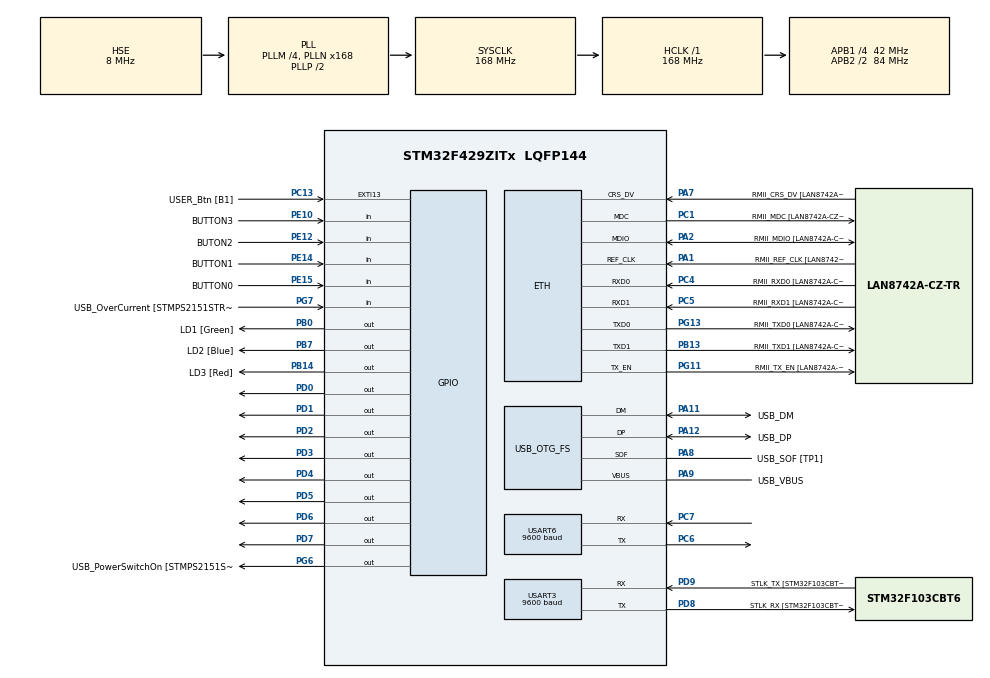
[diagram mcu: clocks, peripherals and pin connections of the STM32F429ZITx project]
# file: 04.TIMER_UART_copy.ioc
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ETH.MediaInterface=HAL_ETH_RMII_MODE
ETH.PHY_Name=LAN8742A_PHY_ADDRESS
ETH.PHY_Value=0
ETH.PhyAddress=0
Mcu.Family=STM32F4
Mcu.Name=STM32F429ZITx
Mcu.Package=LQFP144
NVIC.PriorityGroup=NVIC_PRIORITYGROUP_4
NVIC.USART3_IRQn=true\:0\:0\:false\:false\:true\:true\:true\:true
NVIC.USART6_IRQn=true\:0\:0\:false\:false\:true\:true\:true\:true
PA1.GPIO_Label=RMII_REF_CLK [LAN8742A-CZ-TR_REFCLK0]
PA1.Mode=RMII
PA1.Signal=ETH_REF_CLK
PA10.GPIO_Label=USB_ID
PA10.Signal=USB_OTG_FS_ID
PA11.GPIO_Label=USB_DM
PA11.Mode=Device_Only
PA11.Signal=USB_OTG_FS_DM
PA12.GPIO_Label=USB_DP
PA12.Mode=Device_Only
PA12.Signal=USB_OTG_FS_DP
PA13.GPIO_Label=TMS
PA13.Mode=Serial_Wire
PA13.Signal=SYS_JTMS-SWDIO
PA14.GPIO_Label=TCK
PA14.Mode=Serial_Wire
PA14.Signal=SYS_JTCK-SWCLK
PA2.GPIO_Label=RMII_MDIO [LAN8742A-CZ-TR_MDIO]
PA2.Mode=RMII
PA2.Signal=ETH_MDIO
PA7.GPIO_Label=RMII_CRS_DV [LAN8742A-CZ-TR_CRS_DV]
PA7.Mode=RMII
PA7.Signal=ETH_CRS_DV
PA8.GPIO_Label=USB_SOF [TP1]
PA8.Mode=Activate_SOF_FS
PA8.Signal=USB_OTG_FS_SOF
PA9.GPIO_Label=USB_VBUS
PA9.Mode=Activate_VBUS
PA9.Signal=USB_OTG_FS_VBUS
PB0.GPIO_Label=LD1 [Green]
PB0.Signal=GPIO_Output
PB13.GPIO_Label=RMII_TXD1 [LAN8742A-CZ-TR_TXD1]
PB13.Mode=RMII
PB13.Signal=ETH_TXD1
PB14.GPIO_Label=LD3 [Red]
PB14.Signal=GPIO_Output
PB7.GPIO_Label=LD2 [Blue]
PB7.Signal=GPIO_Output
PC1.GPIO_Label=RMII_MDC [LAN8742A-CZ-TR_MDC]
PC1.Mode=RMII
PC1.Signal=ETH_MDC
PC13.GPIO_Label=USER_Btn [B1]
PC13.Signal=GPXTI13
PC14/OSC32_IN.Mode=LSE-External-Oscillator
PC14/OSC32_IN.Signal=RCC_OSC32_IN
PC15/OSC32_OUT.Mode=LSE-External-Oscillator
PC15/OSC32_OUT.Signal=RCC_OSC32_OUT
PC4.GPIO_Label=RMII_RXD0 [LAN8742A-CZ-TR_RXD0]
PC4.Mode=RMII
PC4.Signal=ETH_RXD0
PC5.GPIO_Label=RMII_RXD1 [LAN8742A-CZ-TR_RXD1]
PC5.Mode=RMII
PC5.Signal=ETH_RXD1
PC6.Mode=Asynchronous
PC6.Signal=USART6_TX
PC7.Mode=Asynchronous
PC7.Signal=USART6_RX
PD0.Signal=GPIO_Output
PD1.Signal=GPIO_Output
PD2.Signal=GPIO_Output
PD3.Signal=GPIO_Output
PD4.Signal=GPIO_Output
PD5.Signal=GPIO_Output
PD6.Signal=GPIO_Output
PD7.Signal=GPIO_Output
PD8.GPIO_Label=STLK_RX [STM32F103CBT6_PA3]
PD8.Mode=Asynchronous
PD8.Signal=USART3_TX
PD9.GPIO_Label=STLK_TX [STM32F103CBT6_PA2]
PD9.Mode=Asynchronous
PD9.Signal=USART3_RX
PE10.GPIO_Label=BUTTON3
PE10.Signal=GPIO_Input
PE12.GPIO_Label=BUTON2
PE12.Signal=GPIO_Input
PE14.GPIO_Label=BUTTON1
PE14.Signal=GPIO_Input
PE15.GPIO_Label=BUTTON0
PE15.Signal=GPIO_Input
PG11.GPIO_Label=RMII_TX_EN [LAN8742A-CZ-TR_TXEN]
PG11.Mode=RMII
PG11.Signal=ETH_TX_EN
PG13.GPIO_Label=RMII_TXD0 [LAN8742A-CZ-TR_TXD0]
PG13.Mode=RMII
PG13.Signal=ETH_TXD0
PG6.GPIO_Label=USB_PowerSwitchOn [STMPS2151STR_EN]
PG6.Signal=GPIO_Output
PG7.GPIO_Label=USB_OverCurrent [STMPS2151STR_FAULT]
PG7.Signal=GPIO_Input
PH0/OSC_IN.GPIO_Label=MCO [STM32F103CBT6_PA8]
PH0/OSC_IN.Mode=HSE-External-Clock-Source
PH0/OSC_IN.Signal=RCC_OSC_IN
PH1/OSC_OUT.Mode=HSE-External-Clock-Source
PH1/OSC_OUT.Signal=RCC_OSC_OUT
ProjectManager.HeapSize=0x200
ProjectManager.StackSize=0x400
ProjectManager.TargetToolchain=STM32CubeIDE
RCC.48MHZClocksFreq_Value=48000000
RCC.AHBFreq_Value=168000000
RCC.APB1CLKDivider=RCC_HCLK_DIV4
RCC.APB1Freq_Value=42000000
RCC.APB1TimFreq_Value=84000000
RCC.APB2CLKDivider=RCC_HCLK_DIV2
RCC.APB2Freq_Value=84000000
RCC.APB2TimCLKDivider=2
RCC.APB2TimFreq_Value=168000000
RCC.CortexFreq_Value=168000000
RCC.HCLKFreq_Value=168000000
RCC.HSE_VALUE=8000000
RCC.HSI_VALUE=16000000
RCC.PLLM=4
RCC.PLLMUL=RCC_PLL_MUL9
RCC.PLLN=168
RCC.PLLQ=7
RCC.PRESCALERUSB=RCC_USBCLKSOURCE_PLL_DIV1_5
RCC.SYSCLKFreq_VALUE=168000000
RCC.SYSCLKSource=RCC_SYSCLKSOURCE_PLLCLK
RCC.SYSCLKSourceVirtual=RCC_SYSCLKSOURCE_PLLCLK
RCC.USBFreq_Value=48000000
RCC.VCOOutputFreq_Value=336000000
USART3.BaudRate=9600
USART3.VirtualMode=VM_ASYNC
USART6.BaudRate=9600
USART6.VirtualMode=VM_ASYNC
USB_OTG_FS.VirtualMode=Device_Only
board=NUCLEO-F429ZI

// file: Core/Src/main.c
/* USER CODE BEGIN Header */
/**
  ******************************************************************************
  * @file           : main.c
  * @brief          : Main program body
  ******************************************************************************
  * @attention
  *
  * Copyright (c) 2023 STMicroelectronics.
  * All rights reserved.
  *
  * This software is licensed under terms that can be found in the LICENSE file
  * in the root directory of this software component.
  * If no LICENSE file comes with this software, it is provided AS-IS.
  *
  ******************************************************************************
  */
/* USER CODE END Header */
#include "main.h"
#include "string.h"

ETH_TxPacketConfig TxConfig;
ETH_DMADescTypeDef  DMARxDscrTab[ETH_RX_DESC_CNT]; /* Ethernet Rx DMA Descriptors */
ETH_DMADescTypeDef  DMATxDscrTab[ETH_TX_DESC_CNT]; /* Ethernet Tx DMA Descriptors */

ETH_HandleTypeDef heth;

UART_HandleTypeDef huart3;
UART_HandleTypeDef huart6;

PCD_HandleTypeDef hpcd_USB_OTG_FS;

/* USER CODE BEGIN PV */
uint8_t rx_data;	// uart3 rx_data
uint8_t bt_rx_data;	// uart6 rx_data
/* USER CODE END PV */

void SystemClock_Config(void);
static void MX_GPIO_Init(void);
static void MX_ETH_Init(void);
static void MX_USART3_UART_Init(void);
static void MX_USB_OTG_FS_PCD_Init(void);
static void MX_USART6_UART_Init(void);
/* USER CODE BEGIN PFP */
extern void led_main(void);
extern void pc_command_processing(void);
extern void bt_command_processing(void);
/* USER CODE END PFP */

/* USER CODE BEGIN 0 */
//---------------------
// call by SysTic_Handler of stm32f4xx_it.c
// ARM default timer
// enter here every 1ms
volatile int t1ms_counter=0;	//volatile: for disable optimize
void HAL_STSTICK_Handler(void)	//
{
	t1ms_counter++;	// 1ms timer
}

//----------  printf start ----------
#ifdef __GNUC__
/* With GCC, small printf (option LD Linker->Libraries->Small printf
   set to 'Yes') calls __io_putchar() */
#define PUTCHAR_PROTOTYPE int __io_putchar(int ch)
#else
#define PUTCHAR_PROTOTYPE int fputc(int ch, FILE *f)
#endif /* __GNUC_ */
/**
  * @brief  Retargets the C library printf function to the USART.
  * @param  None
  * @retval None
  */
PUTCHAR_PROTOTYPE   // Add for printf
{
  /* Place your implementation of fputc here */
  /* e.g. write a character to the USART3 and Loop until the end of transmission */
  HAL_UART_Transmit(&huart3, (uint8_t *)&ch, 1, 0xFFFF);

  return ch;
}
//----------  printf end ----------

/* USER CODE END 0 */

int main(void)
{

  /* MCU Configuration--------------------------------------------------------*/

  /* Reset of all peripherals, Initializes the Flash interface and the Systick. */
  HAL_Init();

  /* Configure the system clock */
  SystemClock_Config();

  /* Initialize all configured peripherals */
  MX_GPIO_Init();
  MX_ETH_Init();
  MX_USART3_UART_Init();
  MX_USB_OTG_FS_PCD_Init();
  MX_USART6_UART_Init();
  /* USER CODE BEGIN 2 */
  HAL_UART_Receive_IT(&huart3, &rx_data, 1);		//assing to RX INT
  HAL_UART_Receive_IT(&huart6, &bt_rx_data, 1);		//assing to BT RX INT

  printf("led_main() start!!!\n");
//  led_main();

  /* USER CODE END 2 */

  /* Infinite loop */
  /* USER CODE BEGIN WHILE */
  while (1)
  {
	  printf("8821\n");
	  HAL_Delay(100);
//	pc_command_processing();
//	bt_command_processing();

    /* USER CODE END WHILE */

  }
}

void SystemClock_Config(void)
{
  RCC_OscInitTypeDef RCC_OscInitStruct = {0};
  RCC_ClkInitTypeDef RCC_ClkInitStruct = {0};

  /** Configure the main internal regulator output voltage
  */
  __HAL_RCC_PWR_CLK_ENABLE();
  __HAL_PWR_VOLTAGESCALING_CONFIG(PWR_REGULATOR_VOLTAGE_SCALE1);

  /** Initializes the RCC Oscillators according to the specified parameters
  * in the RCC_OscInitTypeDef structure.
  */
  RCC_OscInitStruct.OscillatorType = RCC_OSCILLATORTYPE_HSE;
  RCC_OscInitStruct.HSEState = RCC_HSE_BYPASS;
  RCC_OscInitStruct.PLL.PLLState = RCC_PLL_ON;
  RCC_OscInitStruct.PLL.PLLSource = RCC_PLLSOURCE_HSE;
  RCC_OscInitStruct.PLL.PLLM = 4;
  RCC_OscInitStruct.PLL.PLLN = 168;
  RCC_OscInitStruct.PLL.PLLP = RCC_PLLP_DIV2;
  RCC_OscInitStruct.PLL.PLLQ = 7;
  if (HAL_RCC_OscConfig(&RCC_OscInitStruct) != HAL_OK)
  {
    Error_Handler();
  }

  /** Initializes the CPU, AHB and APB buses clocks
  */
  RCC_ClkInitStruct.ClockType = RCC_CLOCKTYPE_HCLK|RCC_CLOCKTYPE_SYSCLK
                              |RCC_CLOCKTYPE_PCLK1|RCC_CLOCKTYPE_PCLK2;
  RCC_ClkInitStruct.SYSCLKSource = RCC_SYSCLKSOURCE_PLLCLK;
  RCC_ClkInitStruct.AHBCLKDivider = RCC_SYSCLK_DIV1;
  RCC_ClkInitStruct.APB1CLKDivider = RCC_HCLK_DIV4;
  RCC_ClkInitStruct.APB2CLKDivider = RCC_HCLK_DIV2;

  if (HAL_RCC_ClockConfig(&RCC_ClkInitStruct, FLASH_LATENCY_5) != HAL_OK)
  {
    Error_Handler();
  }
}

static void MX_ETH_Init(void)
{

   static uint8_t MACAddr[6];

  heth.Instance = ETH;
  MACAddr[0] = 0x00;
  MACAddr[1] = 0x80;
  MACAddr[2] = 0xE1;
  MACAddr[3] = 0x00;
  MACAddr[4] = 0x00;
  MACAddr[5] = 0x00;
  heth.Init.MACAddr = &MACAddr[0];
  heth.Init.MediaInterface = HAL_ETH_RMII_MODE;
  heth.Init.TxDesc = DMATxDscrTab;
  heth.Init.RxDesc = DMARxDscrTab;
  heth.Init.RxBuffLen = 1524;

  if (HAL_ETH_Init(&heth) != HAL_OK)
  {
    Error_Handler();
  }

  memset(&TxConfig, 0 , sizeof(ETH_TxPacketConfig));
  TxConfig.Attributes = ETH_TX_PACKETS_FEATURES_CSUM | ETH_TX_PACKETS_FEATURES_CRCPAD;
  TxConfig.ChecksumCtrl = ETH_CHECKSUM_IPHDR_PAYLOAD_INSERT_PHDR_CALC;
  TxConfig.CRCPadCtrl = ETH_CRC_PAD_INSERT;

}

static void MX_USART3_UART_Init(void)
{

  huart3.Instance = USART3;
  huart3.Init.BaudRate = 9600;
  huart3.Init.WordLength = UART_WORDLENGTH_8B;
  huart3.Init.StopBits = UART_STOPBITS_1;
  huart3.Init.Parity = UART_PARITY_NONE;
  huart3.Init.Mode = UART_MODE_TX_RX;
  huart3.Init.HwFlowCtl = UART_HWCONTROL_NONE;
  huart3.Init.OverSampling = UART_OVERSAMPLING_16;
  if (HAL_UART_Init(&huart3) != HAL_OK)
  {
    Error_Handler();
  }

}

static void MX_USART6_UART_Init(void)
{

  huart6.Instance = USART6;
  huart6.Init.BaudRate = 9600;
  huart6.Init.WordLength = UART_WORDLENGTH_8B;
  huart6.Init.StopBits = UART_STOPBITS_1;
  huart6.Init.Parity = UART_PARITY_NONE;
  huart6.Init.Mode = UART_MODE_TX_RX;
  huart6.Init.HwFlowCtl = UART_HWCONTROL_NONE;
  huart6.Init.OverSampling = UART_OVERSAMPLING_16;
  if (HAL_UART_Init(&huart6) != HAL_OK)
  {
    Error_Handler();
  }

}

static void MX_USB_OTG_FS_PCD_Init(void)
{

  hpcd_USB_OTG_FS.Instance = USB_OTG_FS;
  hpcd_USB_OTG_FS.Init.dev_endpoints = 4;
  hpcd_USB_OTG_FS.Init.speed = PCD_SPEED_FULL;
  hpcd_USB_OTG_FS.Init.dma_enable = DISABLE;
  hpcd_USB_OTG_FS.Init.phy_itface = PCD_PHY_EMBEDDED;
  hpcd_USB_OTG_FS.Init.Sof_enable = ENABLE;
  hpcd_USB_OTG_FS.Init.low_power_enable = DISABLE;
  hpcd_USB_OTG_FS.Init.lpm_enable = DISABLE;
  hpcd_USB_OTG_FS.Init.vbus_sensing_enable = ENABLE;
  hpcd_USB_OTG_FS.Init.use_dedicated_ep1 = DISABLE;
  if (HAL_PCD_Init(&hpcd_USB_OTG_FS) != HAL_OK)
  {
    Error_Handler();
  }

}

static void MX_GPIO_Init(void)
{
  GPIO_InitTypeDef GPIO_InitStruct = {0};

  /* GPIO Ports Clock Enable */
  __HAL_RCC_GPIOC_CLK_ENABLE();
  __HAL_RCC_GPIOH_CLK_ENABLE();
  __HAL_RCC_GPIOA_CLK_ENABLE();
  __HAL_RCC_GPIOB_CLK_ENABLE();
  __HAL_RCC_GPIOE_CLK_ENABLE();
  __HAL_RCC_GPIOD_CLK_ENABLE();
  __HAL_RCC_GPIOG_CLK_ENABLE();

  /*Configure GPIO pin Output Level */
  HAL_GPIO_WritePin(GPIOB, LD1_Pin|LD3_Pin|LD2_Pin, GPIO_PIN_RESET);

  /*Configure GPIO pin Output Level */
  HAL_GPIO_WritePin(USB_PowerSwitchOn_GPIO_Port, USB_PowerSwitchOn_Pin, GPIO_PIN_RESET);

  /*Configure GPIO pin Output Level */
  HAL_GPIO_WritePin(GPIOD, GPIO_PIN_0|GPIO_PIN_1|GPIO_PIN_2|GPIO_PIN_3
                          |GPIO_PIN_4|GPIO_PIN_5|GPIO_PIN_6|GPIO_PIN_7, GPIO_PIN_RESET);

  /*Configure GPIO pin : USER_Btn_Pin */
  GPIO_InitStruct.Pin = USER_Btn_Pin;
  GPIO_InitStruct.Mode = GPIO_MODE_IT_RISING;
  GPIO_InitStruct.Pull = GPIO_NOPULL;
  HAL_GPIO_Init(USER_Btn_GPIO_Port, &GPIO_InitStruct);

  /*Configure GPIO pins : LD1_Pin LD3_Pin LD2_Pin */
  GPIO_InitStruct.Pin = LD1_Pin|LD3_Pin|LD2_Pin;
  GPIO_InitStruct.Mode = GPIO_MODE_OUTPUT_PP;
  GPIO_InitStruct.Pull = GPIO_NOPULL;
  GPIO_InitStruct.Speed = GPIO_SPEED_FREQ_LOW;
  HAL_GPIO_Init(GPIOB, &GPIO_InitStruct);

  /*Configure GPIO pins : BUTTON3_Pin BUTON2_Pin BUTTON1_Pin BUTTON0_Pin */
  GPIO_InitStruct.Pin = BUTTON3_Pin|BUTON2_Pin|BUTTON1_Pin|BUTTON0_Pin;
  GPIO_InitStruct.Mode = GPIO_MODE_INPUT;
  GPIO_InitStruct.Pull = GPIO_NOPULL;
  HAL_GPIO_Init(GPIOE, &GPIO_InitStruct);

  /*Configure GPIO pin : USB_PowerSwitchOn_Pin */
  GPIO_InitStruct.Pin = USB_PowerSwitchOn_Pin;
  GPIO_InitStruct.Mode = GPIO_MODE_OUTPUT_PP;
  GPIO_InitStruct.Pull = GPIO_NOPULL;
  GPIO_InitStruct.Speed = GPIO_SPEED_FREQ_LOW;
  HAL_GPIO_Init(USB_PowerSwitchOn_GPIO_Port, &GPIO_InitStruct);

  /*Configure GPIO pin : USB_OverCurrent_Pin */
  GPIO_InitStruct.Pin = USB_OverCurrent_Pin;
  GPIO_InitStruct.Mode = GPIO_MODE_INPUT;
  GPIO_InitStruct.Pull = GPIO_NOPULL;
  HAL_GPIO_Init(USB_OverCurrent_GPIO_Port, &GPIO_InitStruct);

  /*Configure GPIO pins : PD0 PD1 PD2 PD3
                           PD4 PD5 PD6 PD7 */
  GPIO_InitStruct.Pin = GPIO_PIN_0|GPIO_PIN_1|GPIO_PIN_2|GPIO_PIN_3
                          |GPIO_PIN_4|GPIO_PIN_5|GPIO_PIN_6|GPIO_PIN_7;
  GPIO_InitStruct.Mode = GPIO_MODE_OUTPUT_PP;
  GPIO_InitStruct.Pull = GPIO_NOPULL;
  GPIO_InitStruct.Speed = GPIO_SPEED_FREQ_LOW;
  HAL_GPIO_Init(GPIOD, &GPIO_InitStruct);

}

void Error_Handler(void)
{
  __disable_irq();
  while (1)
  {
  }
}
